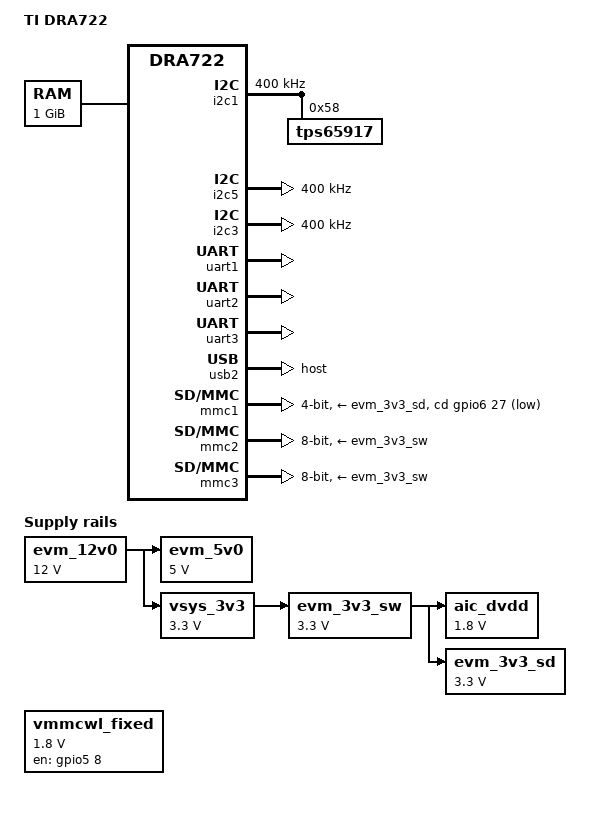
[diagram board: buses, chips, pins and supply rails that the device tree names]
/*
 * Copyright (C) 2014-2016 Texas Instruments Incorporated - http://www.ti.com/
 *
 * This program is free software; you can redistribute it and/or modify
 * it under the terms of the GNU General Public License version 2 as
 * published by the Free Software Foundation.
 */

/dts-v1/;

#include "dra72x.dtsi"
#include <dt-bindings/gpio/gpio.h>
#include <dt-bindings/clk/ti-dra7-atl.h>


/ {
	compatible = "ti,dra72-evm", "ti,dra722", "ti,dra72", "ti,dra7";
	model = "TI DRA722";

	memory {
		device_type = "memory";
		reg = <0x0 0x80000000 0x0 0x40000000>; /* 1024 MB */
	};
	
	aliases {
		sound1 = &hdmi;
	};
 
	evm_12v0: fixedregulator-evm12v0 {
		/* main supply */
		compatible = "regulator-fixed";
		regulator-name = "evm_12v0";
		regulator-min-microvolt = <12000000>;
		regulator-max-microvolt = <12000000>;
		regulator-always-on;
		regulator-boot-on;
	};

	evm_5v0: fixedregulator-evm5v0 {
		/* Output 1 of TPS43351QDAPRQ1 on dra72-evm */
		/* Output 1 of LM5140QRWGTQ1 on dra71-evm */
		compatible = "regulator-fixed";
		regulator-name = "evm_5v0";
		regulator-min-microvolt = <5000000>;
		regulator-max-microvolt = <5000000>;
		vin-supply = <&evm_12v0>;
		regulator-always-on;
		regulator-boot-on;
	};

	vsys_3v3: fixedregulator-vsys3v3 {
		/* Output 2 of TPS43351QDAPRQ1 on dra72-evm */
		/* Output 2 of LM5140QRWGTQ1 on dra71-evm */
		compatible = "regulator-fixed";
		regulator-name = "vsys_3v3";
		regulator-min-microvolt = <3300000>;
		regulator-max-microvolt = <3300000>;
		vin-supply = <&evm_12v0>;
		regulator-always-on;
		regulator-boot-on;
	};

	evm_3v3_sw: fixedregulator-evm_3v3 {
		/* TPS22965DSG */
		compatible = "regulator-fixed";
		regulator-name = "evm_3v3";
		regulator-min-microvolt = <3300000>;
		regulator-max-microvolt = <3300000>;
		vin-supply = <&vsys_3v3>;
		regulator-always-on;
		regulator-boot-on;
	};

	aic_dvdd: fixedregulator-aic_dvdd {
		/* TPS77018DBVT */
		compatible = "regulator-fixed";
		regulator-name = "aic_dvdd";
		vin-supply = <&evm_3v3_sw>;
		regulator-min-microvolt = <1800000>;
		regulator-max-microvolt = <1800000>;
	};

	evm_3v3_sd: fixedregulator-sd {
		compatible = "regulator-fixed";
		regulator-name = "evm_3v3_sd";
		regulator-min-microvolt = <3300000>;
		regulator-max-microvolt = <3300000>;
		vin-supply = <&evm_3v3_sw>;
		enable-active-high;
	};

	vmmcwl_fixed: fixedregulator-mmcwl {
		compatible = "regulator-fixed";
		regulator-name = "vmmcwl_fixed";
		regulator-min-microvolt = <1800000>;
		regulator-max-microvolt = <1800000>;
		gpio = <&gpio5 8 GPIO_ACTIVE_HIGH>;
		enable-active-high;
	};
};

&dra7_pmx_core {
	mmc1_pins_default: mmc1_pins_default {
		pinctrl-single,pins = <
			0x354 (PIN_INPUT_PULLUP | MUX_MODE0) /* mmc1_clk.clk */
			0x358 (PIN_INPUT_PULLUP | MUX_MODE0) /* mmc1_cmd.cmd */
			0x35c (PIN_INPUT_PULLUP | MUX_MODE0) /* mmc1_dat0.dat0 */
			0x360 (PIN_INPUT_PULLUP | MUX_MODE0) /* mmc1_dat1.dat1 */
			0x364 (PIN_INPUT_PULLUP | MUX_MODE0) /* mmc1_dat2.dat2 */
			0x368 (PIN_INPUT_PULLUP | MUX_MODE0) /* mmc1_dat3.dat3 */
		>;
	};

	mmc2_pins_default: mmc2_pins_default {
		pinctrl-single,pins = <
			0x9c (PIN_INPUT_PULLUP | MUX_MODE1) /* gpmc_a23.mmc2_clk */
			0xb0 (PIN_INPUT_PULLUP | MUX_MODE1) /* gpmc_cs1.mmc2_cmd */
			0xa0 (PIN_INPUT_PULLUP | MUX_MODE1) /* gpmc_a24.mmc2_dat0 */
			0xa4 (PIN_INPUT_PULLUP | MUX_MODE1) /* gpmc_a25.mmc2_dat1 */
			0xa8 (PIN_INPUT_PULLUP | MUX_MODE1) /* gpmc_a26.mmc2_dat2 */
			0xac (PIN_INPUT_PULLUP | MUX_MODE1) /* gpmc_a27.mmc2_dat3 */
			0x8c (PIN_INPUT_PULLUP | MUX_MODE1) /* gpmc_a19.mmc2_dat4 */
			0x90 (PIN_INPUT_PULLUP | MUX_MODE1) /* gpmc_a20.mmc2_dat5 */
			0x94 (PIN_INPUT_PULLUP | MUX_MODE1) /* gpmc_a21.mmc2_dat6 */
			0x98 (PIN_INPUT_PULLUP | MUX_MODE1) /* gpmc_a22.mmc2_dat7 */
		>;
	};


};

&i2c1 {
	status = "okay";
	clock-frequency = <400000>;

	tps65917: tps65917@58 {
		reg = <0x58>;

		interrupts = <GIC_SPI 2 IRQ_TYPE_NONE>;  /* IRQ_SYS_1N */
	};

};

&i2c5 {
	status = "okay";
	clock-frequency = <400000>;
	

};

&i2c3 {
	status = "okay";
	clock-frequency = <400000>;
};

&uart1 {
	status = "okay";
	interrupts-extended = <&crossbar_mpu GIC_SPI 67 IRQ_TYPE_LEVEL_HIGH>,
			      <&dra7_pmx_core 0x3e0>;
	dma-names = "disabled";
};

&uart2 {
	status = "okay";
};

&uart3 {
	status = "okay";
};

&elm {
	status = "disabled";
};


&omap_dwc3_1 {
/*	extcon = <&extcon_usb1>; */
};

&omap_dwc3_2 {
/*	extcon = <&extcon_usb2>; */
};

&usb1 {
	status = "disabled";
	dr_mode = "otg";
};

&usb2 {
	dr_mode = "host";
};

&mmc1 {
	status = "okay";

	vmmc-supply = <&evm_3v3_sd>;
	bus-width = <4>;
	/*
	 * SDCD signal is not being used here - using the fact that GPIO mode
	 * is a viable alternative
	 */
	cd-gpios = <&gpio6 27 GPIO_ACTIVE_LOW>;
	max-frequency = <192000000>;
};

&mmc2 {
	/* SW5-3 in ON position */
	status = "okay";

	vmmc-supply = <&evm_3v3_sw>;
	bus-width = <8>;
	ti,non-removable;
	max-frequency = <192000000>;
};

&mmc3 {
	status = "okay";

	vmmc-supply = <&evm_3v3_sw>;
	bus-width = <8>;
	ti,non-removable;
	max-frequency = <192000000>;
};


&mailbox5 {
	status = "okay";
	mbox_ipu1_ipc3x: mbox_ipu1_ipc3x {
		status = "okay";
	};
	mbox_dsp1_ipc3x: mbox_dsp1_ipc3x {
		status = "okay";
	};
};

&mailbox6 {
	status = "okay";
	mbox_ipu2_ipc3x: mbox_ipu2_ipc3x {
		status = "okay";
	};
};


#include "dra72-evm-tps65917.dtsi"

&ldo4_reg {
	regulator-always-on;
};

&dra7_pmx_core {
	mmc1_pins_sdr12: pinmux_mmc1_sdr12_pins {
		pinctrl-single,pins = <
			0x354 (PIN_INPUT_PULLUP | MUX_MODE0) /* mmc1_clk.clk */
			0x358 (PIN_INPUT_PULLUP | MUX_MODE0) /* mmc1_cmd.cmd */
			0x35c (PIN_INPUT_PULLUP | MUX_MODE0) /* mmc1_dat0.dat0 */
			0x360 (PIN_INPUT_PULLUP | MUX_MODE0) /* mmc1_dat1.dat1 */
			0x364 (PIN_INPUT_PULLUP | MUX_MODE0) /* mmc1_dat2.dat2 */
			0x368 (PIN_INPUT_PULLUP | MUX_MODE0) /* mmc1_dat3.dat3 */
		>;
	};

	mmc1_pins_hs: pinmux_mmc1_hs_pins {
		pinctrl-single,pins = <
			0x354 (PIN_INPUT_PULLUP | MUX_MODE0) /* mmc1_clk.clk */
			0x358 (PIN_INPUT_PULLUP | MUX_MODE0) /* mmc1_cmd.cmd */
			0x35c (PIN_INPUT_PULLUP | MUX_MODE0) /* mmc1_dat0.dat0 */
			0x360 (PIN_INPUT_PULLUP | MUX_MODE0) /* mmc1_dat1.dat1 */
			0x364 (PIN_INPUT_PULLUP | MUX_MODE0) /* mmc1_dat2.dat2 */
			0x368 (PIN_INPUT_PULLUP | MUX_MODE0) /* mmc1_dat3.dat3 */
		>;
	};

	mmc1_pins_sdr25: pinmux_mmc1_sdr25_pins {
		pinctrl-single,pins = <
			0x354 (PIN_INPUT_PULLUP | MUX_MODE0) /* mmc1_clk.clk */
			0x358 (PIN_INPUT_PULLUP | MUX_MODE0) /* mmc1_cmd.cmd */
			0x35c (PIN_INPUT_PULLUP | MUX_MODE0) /* mmc1_dat0.dat0 */
			0x360 (PIN_INPUT_PULLUP | MUX_MODE0) /* mmc1_dat1.dat1 */
			0x364 (PIN_INPUT_PULLUP | MUX_MODE0) /* mmc1_dat2.dat2 */
			0x368 (PIN_INPUT_PULLUP | MUX_MODE0) /* mmc1_dat3.dat3 */
		>;
	};

	mmc1_pins_sdr50: pinmux_mmc1_sdr50_pins {
		pinctrl-single,pins = <
			0x354 (PIN_INPUT_PULLUP | MUX_VIRTUAL_MODE15 | MUX_MODE0)	/* mmc1_clk.mmc1_clk */
			0x358 (PIN_INPUT_PULLUP | MUX_VIRTUAL_MODE15 | MUX_MODE0)	/* mmc1_cmd.mmc1_cmd */
			0x35C (PIN_INPUT_PULLUP | MUX_VIRTUAL_MODE15 | MUX_MODE0)	/* mmc1_dat0.mmc1_dat0 */
			0x360 (PIN_INPUT_PULLUP | MUX_VIRTUAL_MODE15 | MUX_MODE0)	/* mmc1_dat1.mmc1_dat1 */
			0x364 (PIN_INPUT_PULLUP | MUX_VIRTUAL_MODE15 | MUX_MODE0)	/* mmc1_dat2.mmc1_dat2 */
			0x368 (PIN_INPUT_PULLUP | MUX_VIRTUAL_MODE15 | MUX_MODE0)	/* mmc1_dat3.mmc1_dat3 */
		>;
	};

	mmc1_pins_ddr50: pinmux_mmc1_ddr50_pins {
		pinctrl-single,pins = <
			0x354	(PIN_INPUT_PULLUP | MUX_VIRTUAL_MODE14 | MUX_MODE0)	/* mmc1_clk.mmc1_clk */
			0x358	(PIN_INPUT_PULLUP | MUX_VIRTUAL_MODE14 | MUX_MODE0)	/* mmc1_cmd.mmc1_cmd */
			0x35C	(PIN_INPUT_PULLUP | MUX_VIRTUAL_MODE14 | MUX_MODE0)	/* mmc1_dat0.mmc1_dat0 */
			0x360	(PIN_INPUT_PULLUP | MUX_VIRTUAL_MODE14 | MUX_MODE0)	/* mmc1_dat1.mmc1_dat1 */
			0x364	(PIN_INPUT_PULLUP | MUX_VIRTUAL_MODE14 | MUX_MODE0)	/* mmc1_dat2.mmc1_dat2 */
			0x368	(PIN_INPUT_PULLUP | MUX_VIRTUAL_MODE14 | MUX_MODE0)	/* mmc1_dat3.mmc1_dat3 */
		>;
	};

	mmc1_pins_sdr104: pinmux_mmc1_sdr104_pins {
		pinctrl-single,pins = <
			0x354	(PIN_INPUT_PULLUP | MANUAL_MODE | MUX_MODE0)	/* mmc1_clk.mmc1_clk */
			0x358	(PIN_INPUT_PULLUP | MANUAL_MODE | MUX_MODE0)	/* mmc1_cmd.mmc1_cmd */
			0x35C	(PIN_INPUT_PULLUP | MANUAL_MODE | MUX_MODE0)	/* mmc1_dat0.mmc1_dat0 */
			0x360	(PIN_INPUT_PULLUP | MANUAL_MODE | MUX_MODE0)	/* mmc1_dat1.mmc1_dat1 */
			0x364	(PIN_INPUT_PULLUP | MANUAL_MODE | MUX_MODE0)	/* mmc1_dat2.mmc1_dat2 */
			0x368	(PIN_INPUT_PULLUP | MANUAL_MODE | MUX_MODE0)	/* mmc1_dat3.mmc1_dat3 */
		>;
	};

	mmc2_pins_hs: pinmux_mmc2_hs_pins {
		pinctrl-single,pins = <
			0x08C	(PIN_INPUT_PULLUP | MUX_MODE1)	/* gpmc_a19.mmc2_dat4 */
			0x090	(PIN_INPUT_PULLUP | MUX_MODE1)	/* gpmc_a20.mmc2_dat5 */
			0x094	(PIN_INPUT_PULLUP | MUX_MODE1)	/* gpmc_a21.mmc2_dat6 */
			0x098	(PIN_INPUT_PULLUP | MUX_MODE1)	/* gpmc_a22.mmc2_dat7 */
			0x09C	(PIN_INPUT_PULLUP | MUX_MODE1)	/* gpmc_a23.mmc2_clk */
			0x0A0	(PIN_INPUT_PULLUP | MUX_MODE1)	/* gpmc_a24.mmc2_dat0 */
			0x0A4	(PIN_INPUT_PULLUP | MUX_MODE1)	/* gpmc_a25.mmc2_dat1 */
			0x0A8	(PIN_INPUT_PULLUP | MUX_MODE1)	/* gpmc_a26.mmc2_dat2 */
			0x0AC	(PIN_INPUT_PULLUP | MUX_MODE1)	/* gpmc_a27.mmc2_dat3 */
			0x0B0	(PIN_INPUT_PULLUP | MUX_MODE1)	/* gpmc_cs1.mmc2_cmd */
		>;
	};

	mmc2_pins_ddr_1_8v: pinmux_mmc2_ddr_1_8v_pins {
		pinctrl-single,pins = <
			0x08C	(PIN_INPUT_PULLUP | MUX_MODE1)	/* gpmc_a19.mmc2_dat4 */
			0x090	(PIN_INPUT_PULLUP | MUX_MODE1)	/* gpmc_a20.mmc2_dat5 */
			0x094	(PIN_INPUT_PULLUP | MUX_MODE1)	/* gpmc_a21.mmc2_dat6 */
			0x098	(PIN_INPUT_PULLUP | MUX_MODE1)	/* gpmc_a22.mmc2_dat7 */
			0x09C	(PIN_INPUT_PULLUP | MUX_MODE1)	/* gpmc_a23.mmc2_clk */
			0x0A0	(PIN_INPUT_PULLUP | MUX_MODE1)	/* gpmc_a24.mmc2_dat0 */
			0x0A4	(PIN_INPUT_PULLUP | MUX_MODE1)	/* gpmc_a25.mmc2_dat1 */
			0x0A8	(PIN_INPUT_PULLUP | MUX_MODE1)	/* gpmc_a26.mmc2_dat2 */
			0x0AC	(PIN_INPUT_PULLUP | MUX_MODE1)	/* gpmc_a27.mmc2_dat3 */
			0x0B0	(PIN_INPUT_PULLUP | MUX_MODE1)	/* gpmc_cs1.mmc2_cmd */
		>;
	};

	mmc2_pins_hs200_1_8v: pinmux_mmc2_hs200_1_8v_pins {
		pinctrl-single,pins = <
			0x08C	(PIN_INPUT_PULLUP | MANUAL_MODE | MUX_MODE1)	/* gpmc_a19.mmc2_dat4 */
			0x090	(PIN_INPUT_PULLUP | MANUAL_MODE | MUX_MODE1)	/* gpmc_a20.mmc2_dat5 */
			0x094	(PIN_INPUT_PULLUP | MANUAL_MODE | MUX_MODE1)	/* gpmc_a21.mmc2_dat6 */
			0x098	(PIN_INPUT_PULLUP | MANUAL_MODE | MUX_MODE1)	/* gpmc_a22.mmc2_dat7 */
			0x09C	(PIN_INPUT_PULLUP | MANUAL_MODE | MUX_MODE1)	/* gpmc_a23.mmc2_clk */
			0x0A0	(PIN_INPUT_PULLUP | MANUAL_MODE | MUX_MODE1)	/* gpmc_a24.mmc2_dat0 */
			0x0A4	(PIN_INPUT_PULLUP | MANUAL_MODE | MUX_MODE1)	/* gpmc_a25.mmc2_dat1 */
			0x0A8	(PIN_INPUT_PULLUP | MANUAL_MODE | MUX_MODE1)	/* gpmc_a26.mmc2_dat2 */
			0x0AC	(PIN_INPUT_PULLUP | MANUAL_MODE | MUX_MODE1)	/* gpmc_a27.mmc2_dat3 */
			0x0B0	(PIN_INPUT_PULLUP | MANUAL_MODE | MUX_MODE1)	/* gpmc_cs1.mmc2_cmd */
		>;
	};

	mmc3_pins_default: mmc3_pins_default {
		pinctrl-single,pins = <
			DRA7XX_CORE_IOPAD(0x377c, (PIN_INPUT_PULLUP | MODE_SELECT | MUX_MODE0)) /* mmc3_clk.mmc3_clk */
			DRA7XX_CORE_IOPAD(0x3780, (PIN_INPUT_PULLUP | MODE_SELECT | MUX_MODE0)) /* mmc3_cmd.mmc3_cmd */
			DRA7XX_CORE_IOPAD(0x3784, (PIN_INPUT_PULLUP | MODE_SELECT | MUX_MODE0)) /* mmc3_dat0.mmc3_dat0 */
			DRA7XX_CORE_IOPAD(0x3788, (PIN_INPUT_PULLUP | MODE_SELECT | MUX_MODE0)) /* mmc3_dat1.mmc3_dat1 */
			DRA7XX_CORE_IOPAD(0x378c, (PIN_INPUT_PULLUP | MODE_SELECT | MUX_MODE0)) /* mmc3_dat2.mmc3_dat2 */
			DRA7XX_CORE_IOPAD(0x3790, (PIN_INPUT_PULLUP | MODE_SELECT | MUX_MODE0)) /* mmc3_dat3.mmc3_dat3 */
			DRA7XX_CORE_IOPAD(0x3794, (PIN_INPUT_PULLUP | MODE_SELECT | MUX_MODE0)) /* mmc3_dat3.mmc3_dat4 */
			DRA7XX_CORE_IOPAD(0x3798, (PIN_INPUT_PULLUP | MODE_SELECT | MUX_MODE0)) /* mmc3_dat3.mmc3_dat5 */
			DRA7XX_CORE_IOPAD(0x379c, (PIN_INPUT_PULLUP | MODE_SELECT | MUX_MODE0)) /* mmc3_dat3.mmc3_dat6 */
			DRA7XX_CORE_IOPAD(0x37a0, (PIN_INPUT_PULLUP | MODE_SELECT | MUX_MODE0)) /* mmc3_dat3.mmc3_dat7 */
		>;
	};

	mmc3_pins_hs: mmc3_pins_hs {
		pinctrl-single,pins = <
			DRA7XX_CORE_IOPAD(0x377c, (PIN_INPUT_PULLUP | MODE_SELECT | MUX_MODE0)) /* mmc3_clk.mmc3_clk */
			DRA7XX_CORE_IOPAD(0x3780, (PIN_INPUT_PULLUP | MODE_SELECT | MUX_MODE0)) /* mmc3_cmd.mmc3_cmd */
			DRA7XX_CORE_IOPAD(0x3784, (PIN_INPUT_PULLUP | MODE_SELECT | MUX_MODE0)) /* mmc3_dat0.mmc3_dat0 */
			DRA7XX_CORE_IOPAD(0x3788, (PIN_INPUT_PULLUP | MODE_SELECT | MUX_MODE0)) /* mmc3_dat1.mmc3_dat1 */
			DRA7XX_CORE_IOPAD(0x378c, (PIN_INPUT_PULLUP | MODE_SELECT | MUX_MODE0)) /* mmc3_dat2.mmc3_dat2 */
			DRA7XX_CORE_IOPAD(0x3790, (PIN_INPUT_PULLUP | MODE_SELECT | MUX_MODE0)) /* mmc3_dat3.mmc3_dat3 */
			DRA7XX_CORE_IOPAD(0x3794, (PIN_INPUT_PULLUP | MODE_SELECT | MUX_MODE0)) /* mmc3_dat3.mmc3_dat4 */
			DRA7XX_CORE_IOPAD(0x3798, (PIN_INPUT_PULLUP | MODE_SELECT | MUX_MODE0)) /* mmc3_dat3.mmc3_dat5 */
			DRA7XX_CORE_IOPAD(0x379c, (PIN_INPUT_PULLUP | MODE_SELECT | MUX_MODE0)) /* mmc3_dat3.mmc3_dat6 */
			DRA7XX_CORE_IOPAD(0x37a0, (PIN_INPUT_PULLUP | MODE_SELECT | MUX_MODE0)) /* mmc3_dat3.mmc3_dat7 */
		>;
	};

	mmc3_pins_sdr12: mmc3_pins_sdr12 {
		pinctrl-single,pins = <
			DRA7XX_CORE_IOPAD(0x377c, (PIN_INPUT_PULLUP | MODE_SELECT | MUX_MODE0)) /* mmc3_clk.mmc3_clk */
			DRA7XX_CORE_IOPAD(0x3780, (PIN_INPUT_PULLUP | MODE_SELECT | MUX_MODE0)) /* mmc3_cmd.mmc3_cmd */
			DRA7XX_CORE_IOPAD(0x3784, (PIN_INPUT_PULLUP | MODE_SELECT | MUX_MODE0)) /* mmc3_dat0.mmc3_dat0 */
			DRA7XX_CORE_IOPAD(0x3788, (PIN_INPUT_PULLUP | MODE_SELECT | MUX_MODE0)) /* mmc3_dat1.mmc3_dat1 */
			DRA7XX_CORE_IOPAD(0x378c, (PIN_INPUT_PULLUP | MODE_SELECT | MUX_MODE0)) /* mmc3_dat2.mmc3_dat2 */
			DRA7XX_CORE_IOPAD(0x3790, (PIN_INPUT_PULLUP | MODE_SELECT | MUX_MODE0)) /* mmc3_dat3.mmc3_dat3 */
			DRA7XX_CORE_IOPAD(0x3794, (PIN_INPUT_PULLUP | MODE_SELECT | MUX_MODE0)) /* mmc3_dat3.mmc3_dat4 */
			DRA7XX_CORE_IOPAD(0x3798, (PIN_INPUT_PULLUP | MODE_SELECT | MUX_MODE0)) /* mmc3_dat3.mmc3_dat5 */
			DRA7XX_CORE_IOPAD(0x379c, (PIN_INPUT_PULLUP | MODE_SELECT | MUX_MODE0)) /* mmc3_dat3.mmc3_dat6 */
			DRA7XX_CORE_IOPAD(0x37a0, (PIN_INPUT_PULLUP | MODE_SELECT | MUX_MODE0)) /* mmc3_dat3.mmc3_dat7 */
		>;
	};

	mmc3_pins_sdr25: mmc3_pins_sdr25 {
		pinctrl-single,pins = <
			DRA7XX_CORE_IOPAD(0x377c, (PIN_INPUT_PULLUP | MODE_SELECT | MUX_MODE0)) /* mmc3_clk.mmc3_clk */
			DRA7XX_CORE_IOPAD(0x3780, (PIN_INPUT_PULLUP | MODE_SELECT | MUX_MODE0)) /* mmc3_cmd.mmc3_cmd */
			DRA7XX_CORE_IOPAD(0x3784, (PIN_INPUT_PULLUP | MODE_SELECT | MUX_MODE0)) /* mmc3_dat0.mmc3_dat0 */
			DRA7XX_CORE_IOPAD(0x3788, (PIN_INPUT_PULLUP | MODE_SELECT | MUX_MODE0)) /* mmc3_dat1.mmc3_dat1 */
			DRA7XX_CORE_IOPAD(0x378c, (PIN_INPUT_PULLUP | MODE_SELECT | MUX_MODE0)) /* mmc3_dat2.mmc3_dat2 */
			DRA7XX_CORE_IOPAD(0x3790, (PIN_INPUT_PULLUP | MODE_SELECT | MUX_MODE0)) /* mmc3_dat3.mmc3_dat3 */
			DRA7XX_CORE_IOPAD(0x3794, (PIN_INPUT_PULLUP | MODE_SELECT | MUX_MODE0)) /* mmc3_dat3.mmc3_dat4 */
			DRA7XX_CORE_IOPAD(0x3798, (PIN_INPUT_PULLUP | MODE_SELECT | MUX_MODE0)) /* mmc3_dat3.mmc3_dat5 */
			DRA7XX_CORE_IOPAD(0x379c, (PIN_INPUT_PULLUP | MODE_SELECT | MUX_MODE0)) /* mmc3_dat3.mmc3_dat6 */
			DRA7XX_CORE_IOPAD(0x37a0, (PIN_INPUT_PULLUP | MODE_SELECT | MUX_MODE0)) /* mmc3_dat3.mmc3_dat7 */
		>;
	};

	mmc3_pins_sdr50: mmc3_pins_sdr50 {
		pinctrl-single,pins = <
			DRA7XX_CORE_IOPAD(0x377c, (PIN_INPUT_PULLUP | MODE_SELECT | MUX_MODE0)) /* mmc3_clk.mmc3_clk */
			DRA7XX_CORE_IOPAD(0x3780, (PIN_INPUT_PULLUP | MODE_SELECT | MUX_MODE0)) /* mmc3_cmd.mmc3_cmd */
			DRA7XX_CORE_IOPAD(0x3784, (PIN_INPUT_PULLUP | MODE_SELECT | MUX_MODE0)) /* mmc3_dat0.mmc3_dat0 */
			DRA7XX_CORE_IOPAD(0x3788, (PIN_INPUT_PULLUP | MODE_SELECT | MUX_MODE0)) /* mmc3_dat1.mmc3_dat1 */
			DRA7XX_CORE_IOPAD(0x378c, (PIN_INPUT_PULLUP | MODE_SELECT | MUX_MODE0)) /* mmc3_dat2.mmc3_dat2 */
			DRA7XX_CORE_IOPAD(0x3790, (PIN_INPUT_PULLUP | MODE_SELECT | MUX_MODE0)) /* mmc3_dat3.mmc3_dat3 */
			DRA7XX_CORE_IOPAD(0x3794, (PIN_INPUT_PULLUP | MODE_SELECT | MUX_MODE0)) /* mmc3_dat3.mmc3_dat4 */
			DRA7XX_CORE_IOPAD(0x3798, (PIN_INPUT_PULLUP | MODE_SELECT | MUX_MODE0)) /* mmc3_dat3.mmc3_dat5 */
			DRA7XX_CORE_IOPAD(0x379c, (PIN_INPUT_PULLUP | MODE_SELECT | MUX_MODE0)) /* mmc3_dat3.mmc3_dat6 */
			DRA7XX_CORE_IOPAD(0x37a0, (PIN_INPUT_PULLUP | MODE_SELECT | MUX_MODE0)) /* mmc3_dat3.mmc3_dat7 */
		>;
	};

	mmc3_pins_ddr_1_8v: pinmux_mmc3_ddr_1_8v_pins {
		pinctrl-single,pins = <
			DRA7XX_CORE_IOPAD(0x377c, (PIN_INPUT_PULLUP | MODE_SELECT | MUX_MODE0)) /* mmc3_clk.mmc3_clk */
			DRA7XX_CORE_IOPAD(0x3780, (PIN_INPUT_PULLUP | MODE_SELECT | MUX_MODE0)) /* mmc3_cmd.mmc3_cmd */
			DRA7XX_CORE_IOPAD(0x3784, (PIN_INPUT_PULLUP | MODE_SELECT | MUX_MODE0)) /* mmc3_dat0.mmc3_dat0 */
			DRA7XX_CORE_IOPAD(0x3788, (PIN_INPUT_PULLUP | MODE_SELECT | MUX_MODE0)) /* mmc3_dat1.mmc3_dat1 */
			DRA7XX_CORE_IOPAD(0x378c, (PIN_INPUT_PULLUP | MODE_SELECT | MUX_MODE0)) /* mmc3_dat2.mmc3_dat2 */
			DRA7XX_CORE_IOPAD(0x3790, (PIN_INPUT_PULLUP | MODE_SELECT | MUX_MODE0)) /* mmc3_dat3.mmc3_dat3 */
			DRA7XX_CORE_IOPAD(0x3794, (PIN_INPUT_PULLUP | MODE_SELECT | MUX_MODE0)) /* mmc3_dat3.mmc3_dat4 */
			DRA7XX_CORE_IOPAD(0x3798, (PIN_INPUT_PULLUP | MODE_SELECT | MUX_MODE0)) /* mmc3_dat3.mmc3_dat5 */
			DRA7XX_CORE_IOPAD(0x379c, (PIN_INPUT_PULLUP | MODE_SELECT | MUX_MODE0)) /* mmc3_dat3.mmc3_dat6 */
			DRA7XX_CORE_IOPAD(0x37a0, (PIN_INPUT_PULLUP | MODE_SELECT | MUX_MODE0)) /* mmc3_dat3.mmc3_dat7 */
		>;
	};
};

&dra7_iodelay_core {

	mmc1_iodelay_sdr104_conf: mmc1_iodelay_sdr104_conf {
		pinctrl-single,pins = <
			0x620 (A_DELAY(560) | G_DELAY(365))	/* CFG_MMC1_CLK_OUT */
			0x62C (A_DELAY(0)   | G_DELAY(0))	/* CFG_MMC1_CMD_OUT */
			0x638 (A_DELAY(29)  | G_DELAY(0))	/* CFG_MMC1_DAT0_OUT */
			0x644 (A_DELAY(0)   | G_DELAY(0))	/* CFG_MMC1_DAT1_OUT */
			0x650 (A_DELAY(47)  | G_DELAY(0))	/* CFG_MMC1_DAT2_OUT */
			0x65C (A_DELAY(30)  | G_DELAY(0))	/* CFG_MMC1_DAT3_OUT */
			0x628 (A_DELAY(125) | G_DELAY(0))	/* CFG_MMC1_CMD_OEN */
			0x634 (A_DELAY(43)  | G_DELAY(0))	/* CFG_MMC1_DAT0_OEN */
			0x640 (A_DELAY(433) | G_DELAY(0))	/* CFG_MMC1_DAT1_OEN */
			0x64C (A_DELAY(287) | G_DELAY(0))	/* CFG_MMC1_DAT2_OEN */
			0x658 (A_DELAY(351) | G_DELAY(0))	/* CFG_MMC1_DAT3_OEN */
		>;
	};

	mmc2_iodelay_hs200_1_8v_conf: mmc2_iodelay_hs200_1_8v_conf {
		pinctrl-single,pins = <
			0x194 (A_DELAY(150) | G_DELAY(95))	/* CFG_GPMC_A19_OUT */
			0x1AC (A_DELAY(250) | G_DELAY(0))	/* CFG_GPMC_A20_OUT */
			0x1B8 (A_DELAY(125) | G_DELAY(0))	/* CFG_GPMC_A21_OUT */
			0x1C4 (A_DELAY(100) | G_DELAY(0))	/* CFG_GPMC_A22_OUT */
			0x1D0 (A_DELAY(870) | G_DELAY(415))	/* CFG_GPMC_A23_OUT */
			0x1DC (A_DELAY(30)  | G_DELAY(0))	/* CFG_GPMC_A24_OUT */
			0x1E8 (A_DELAY(200) | G_DELAY(0))	/* CFG_GPMC_A25_OUT */
			0x1F4 (A_DELAY(200) | G_DELAY(0))	/* CFG_GPMC_A26_OUT */
			0x200 (A_DELAY(0)   | G_DELAY(0))	/* CFG_GPMC_A27_OUT */
			0x368 (A_DELAY(240) | G_DELAY(0))	/* CFG_GPMC_CS1_OUT */
			0x190 (A_DELAY(695) | G_DELAY(0))	/* CFG_GPMC_A19_OEN */
			0x1A8 (A_DELAY(924) | G_DELAY(0))	/* CFG_GPMC_A20_OEN */
			0x1B4 (A_DELAY(719) | G_DELAY(0))	/* CFG_GPMC_A21_OEN */
			0x1C0 (A_DELAY(824) | G_DELAY(0))	/* CFG_GPMC_A22_OEN */
			0x1D8 (A_DELAY(877) | G_DELAY(0))	/* CFG_GPMC_A24_OEN */
			0x1E4 (A_DELAY(446) | G_DELAY(0))	/* CFG_GPMC_A25_OEN */
			0x1F0 (A_DELAY(847) | G_DELAY(0))	/* CFG_GPMC_A26_OEN */
			0x1FC (A_DELAY(586) | G_DELAY(0))	/* CFG_GPMC_A27_OEN */
			0x364 (A_DELAY(1039) | G_DELAY(0))	/* CFG_GPMC_CS1_OEN */
		>;
	};

	/* Corresponds to MMC3_MANUAL1 in datamanual */
	mmc3_iodelay_manual1_conf: mmc3_iodelay_manual1_conf {
		pinctrl-single,pins = <
			0x678 (A_DELAY(0) | G_DELAY(386))	/* CFG_MMC3_CLK_IN */
			0x680 (A_DELAY(605) | G_DELAY(0))	/* CFG_MMC3_CLK_OUT */
			0x684 (A_DELAY(0) | G_DELAY(0))	/* CFG_MMC3_CMD_IN */
			0x688 (A_DELAY(0) | G_DELAY(0))	/* CFG_MMC3_CMD_OEN */
			0x68c (A_DELAY(0) | G_DELAY(0))	/* CFG_MMC3_CMD_OUT */
			0x690 (A_DELAY(171) | G_DELAY(0))	/* CFG_MMC3_DAT0_IN */
			0x694 (A_DELAY(0) | G_DELAY(0))	/* CFG_MMC3_DAT0_OEN */
			0x698 (A_DELAY(0) | G_DELAY(0))	/* CFG_MMC3_DAT0_OUT */
			0x69c (A_DELAY(221) | G_DELAY(0))	/* CFG_MMC3_DAT1_IN */
			0x6a0 (A_DELAY(0) | G_DELAY(0))	/* CFG_MMC3_DAT1_OEN */
			0x6a4 (A_DELAY(0) | G_DELAY(0))	/* CFG_MMC3_DAT1_OUT */
			0x6a8 (A_DELAY(0) | G_DELAY(0))	/* CFG_MMC3_DAT2_IN */
			0x6ac (A_DELAY(0) | G_DELAY(0))	/* CFG_MMC3_DAT2_OEN */
			0x6b0 (A_DELAY(0) | G_DELAY(0))	/* CFG_MMC3_DAT2_OUT */
			0x6b4 (A_DELAY(474) | G_DELAY(0))	/* CFG_MMC3_DAT3_IN */
			0x6b8 (A_DELAY(0) | G_DELAY(0))	/* CFG_MMC3_DAT3_OEN */
			0x6bc (A_DELAY(0) | G_DELAY(0))	/* CFG_MMC3_DAT3_OUT */
		>;
	};

	/* Corresponds to MMC3_MANUAL2 in datamanual */
	mmc3_iodelay_sdr50_conf: mmc3_iodelay_sdr50_conf {
		pinctrl-single,pins = <
			0x678 (A_DELAY(852) | G_DELAY(0))	/* CFG_MMC3_CLK_IN */
			0x680 (A_DELAY(94) | G_DELAY(0))	/* CFG_MMC3_CLK_OUT */
			0x684 (A_DELAY(122) | G_DELAY(0))	/* CFG_MMC3_CMD_IN */
			0x688 (A_DELAY(0) | G_DELAY(0))	/* CFG_MMC3_CMD_OEN */
			0x68c (A_DELAY(0) | G_DELAY(0))	/* CFG_MMC3_CMD_OUT */
			0x690 (A_DELAY(91) | G_DELAY(0))	/* CFG_MMC3_DAT0_IN */
			0x694 (A_DELAY(0) | G_DELAY(0))	/* CFG_MMC3_DAT0_OEN */
			0x698 (A_DELAY(0) | G_DELAY(0))	/* CFG_MMC3_DAT0_OUT */
			0x69c (A_DELAY(57) | G_DELAY(0))	/* CFG_MMC3_DAT1_IN */
			0x6a0 (A_DELAY(0) | G_DELAY(0))	/* CFG_MMC3_DAT1_OEN */
			0x6a4 (A_DELAY(0) | G_DELAY(0))	/* CFG_MMC3_DAT1_OUT */
			0x6a8 (A_DELAY(0) | G_DELAY(0))	/* CFG_MMC3_DAT2_IN */
			0x6ac (A_DELAY(0) | G_DELAY(0))	/* CFG_MMC3_DAT2_OEN */
			0x6b0 (A_DELAY(0) | G_DELAY(0))	/* CFG_MMC3_DAT2_OUT */
			0x6b4 (A_DELAY(375) | G_DELAY(0))	/* CFG_MMC3_DAT3_IN */
			0x6b8 (A_DELAY(0) | G_DELAY(0))	/* CFG_MMC3_DAT3_OEN */
			0x6bc (A_DELAY(0) | G_DELAY(0))	/* CFG_MMC3_DAT3_OUT */
		>;
	};
};


&mmc1 {
	pinctrl-names = "default", "hs", "sdr12", "sdr25", "sdr50", "ddr50"/*, "sdr104"*/;
	pinctrl-0 = <&mmc1_pins_default>;
	pinctrl-1 = <&mmc1_pins_hs>;
	pinctrl-2 = <&mmc1_pins_sdr12>;
	pinctrl-3 = <&mmc1_pins_sdr25>;
	pinctrl-4 = <&mmc1_pins_sdr50>;
	pinctrl-5 = <&mmc1_pins_ddr50>;
	/*pinctrl-6 = <&mmc1_pins_sdr104 &mmc1_iodelay_sdr104_conf>;*/
};

&mmc2 {
	pinctrl-names = "default", "hs", "ddr_1_8v", "hs200_1_8v";
	pinctrl-0 = <&mmc2_pins_default>;
	pinctrl-1 = <&mmc2_pins_hs>;
	pinctrl-2 = <&mmc2_pins_ddr_1_8v>;
	pinctrl-3 = <&mmc2_pins_hs200_1_8v &mmc2_iodelay_hs200_1_8v_conf>;
};

&mmc3 {
	pinctrl-names = "default", "hs", "sdr12", "sdr25", "sdr50" , "ddr_1_8v";
	pinctrl-0 = <&mmc3_pins_default>;
	pinctrl-1 = <&mmc3_pins_hs>;
	pinctrl-2 = <&mmc3_pins_sdr12>;
	pinctrl-3 = <&mmc3_pins_sdr25>;
	pinctrl-4 = <&mmc3_pins_sdr50>;
	pinctrl-5 = <&mmc3_pins_ddr_1_8v>;
};


